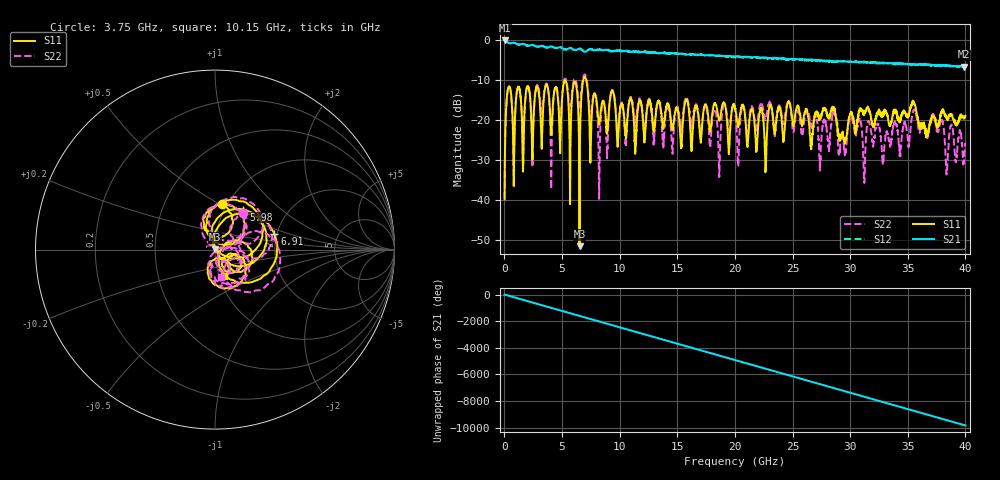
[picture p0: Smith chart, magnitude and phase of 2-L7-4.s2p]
! 2/21/2025 7:20:53 AM
! Z:\OQC\AD5\613\LOT-141-0825\SINGLE\2-L7-4.S2P
! CHANNEL.1
! TR.MEASUREMENT
! CORRECTED.DATA
! RF.CORRECTION: FULL.FOUR.PORT.CAL.PORT.1.2.3.4
! AVERAGING.OFF
! IF.BANDWIDTH: 1KHZ
! SWEEPTYPE:  FREQ.SWEEP(Linear)
! Reference Plane Port Info
! PORT:  PORT1  PORT2
! DISTANCE:  0  m  0  m
! TIME:  0  s  0  s
! PHASE.OFFSET:  0 °  0 °
! LOSS:  0  dB  0  dB
! REF.LOSS:  0  dB  0  dB
! REF.FREQ:  0  Hz  0  Hz
! Power Info
! POWER:  -10  dBm  -10  dBm
! EFF.POWER:  -10  dBm  -10  dBm
! SOURCE.ATTEN:  0  dB  0  dB
! TEST.ATTEN:  0  dB  0  dB
# GHZ S RI R 50.0
! FREQ.GHZ  S11RE  S11IM  S21RE  S21IM  S12RE  S12IM  S22RE  S22IM
!; PortSelection: Port_12
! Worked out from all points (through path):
!   4000 points, 10 MHz to 40 GHz, reference 50 ohm
!   highest |S21| = -0.06 dB at 10 MHz (marker M1); lowest = -6.6 dB at 39.86 GHz (marker M2)
!   group delay of S21, straight-line fit = 682 ps
!   lowest |S11| = -51.5 dB at 6.51 GHz (marker M3), VSWR 1.01, Z = 50.1 + j0.238 ohm
!   |S11| at or under -10 dB: start of sweep to 6.84 GHz; 7.098 GHz to end of sweep
!   |S22| runs from -39.7 to -8.5 dB; largest |S21 - S12| = 0.029
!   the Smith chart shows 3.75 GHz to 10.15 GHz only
!   S11 on the Smith chart (normalised r, x): 3.75 GHz: 0.95, +0.51; 5.98 GHz: 1.22, +0.59; 6.91 GHz: 1.94, +0.37; 10.15 GHz: 1.06, -0.32
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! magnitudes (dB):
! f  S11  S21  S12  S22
! 10 MHz  -39.8  -0.1  -0.1  -39.7
! 380 MHz  -11.6  -0.7  -0.7  -11.6
! 810 MHz  -36.3  -0.6  -0.6  -37.0
! 1.19 GHz  -11.7  -1.1  -1.0  -11.9
! 1.61 GHz  -32.9  -0.9  -0.9  -32.2
! 3.75 GHz  -11.8  -1.8  -1.8  -11.7
! 4.06 GHz  -23.2  -1.6  -1.6  -34.7
! 5.27 GHz  -10.0  -2.4  -2.3  -9.6
! 5.71 GHz  -31.8  -2.0  -1.9  -18.5
! 5.98 GHz  -11.3  -2.4  -2.3  -10.4
! 6.51 GHz  -51.5  -2.1  -2.1  -17.3
! 6.68 GHz  -13.8  -2.4  -2.3  -12.1
! 6.91 GHz  -9.3  -2.9  -2.7  -8.7
! 8.22 GHz  -20.9  -2.4  -2.3  -39.1
! 10.15 GHz  -16.2  -2.8  -2.6  -16.2
! 13.34 GHz  -15.2  -3.2  -3.2  -15.5
! 20.01 GHz  -17.2  -4.1  -4.3  -17.8
! 26.67 GHz  -26.1  -4.8  -5.1  -21.6
! 33.34 GHz  -20.7  -5.7  -5.8  -24.7
! 35.57 GHz  -15.8  -6.0  -6.1  -17.3
! 39.86 GHz  -19.5  -6.6  -6.6  -30.4
! 40 GHz  -18.9  -6.5  -6.7  -25.7
